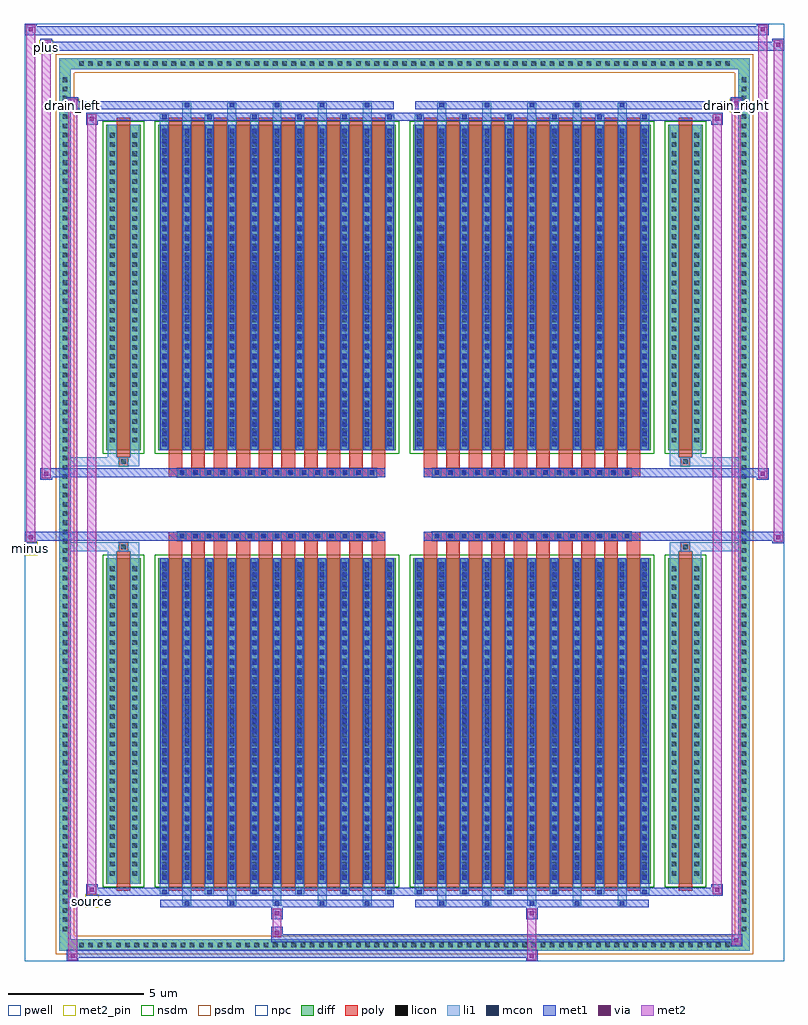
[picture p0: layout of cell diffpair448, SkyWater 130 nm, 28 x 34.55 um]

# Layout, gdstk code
import gdstk
lib = gdstk.Library(unit=1e-6, precision=5e-09)
def R(c, l, rs):  # rectangles x0, y0, x1, y1
    for r in rs: c.add(gdstk.rectangle(r[:2], r[2:], *l))
def A(c, l, x, y, w, h, nx, ny, dx, dy):  # array of equal rectangles
    R(c, l, [(x+i*dx, y+j*dy, x+i*dx+w, y+j*dy+h) for i in range(nx) for j in range(ny)])
def P(c, l, *ps):  # polygons
    for p in ps: c.add(gdstk.Polygon(p, *l))
pwell = (64, 44)
diff = (65, 20)
poly = (66, 20)
licon = (66, 44)
li1 = (67, 20)
mcon = (67, 44)
met1 = (68, 20)
via = (68, 44)
met2_pin = (69, 16)
met2 = (69, 20)
nsdm = (93, 44)
psdm = (94, 20)
npc = (95, 20)

diffpair448 = lib.new_cell('diffpair448')
R(diffpair448, pwell, [(-13.98,-16.84,13.98,17.71), (-11.3,-15.03,-0.01,-0.805), (0.01,-15.03,11.3,-0.805), (-11.3,0.805,-0.01,15.03), (0.01,0.805,11.3,15.03)])
A(diffpair448, diff, -12.105, -16.44, 0.41, 0.41, 71, 2, 0.34, 32.47)
A(diffpair448, diff, -12.71, -15.845, 0.41, 0.41, 1, 93, 0, 0.34)
A(diffpair448, diff, 12.3, -15.845, 0.41, 0.41, 1, 93, 0, 0.34)
R(diffpair448, diff, [(-12.105,-16.44,12.105,-16.03), (-12.71,-15.845,-12.3,15.845), (12.3,-15.845,12.71,15.845), (-10.99,-13.985,-9.71,-1.985), (-9.07,-13.985,-0.32,-1.985), (0.32,-13.985,9.07,-1.985), (9.71,-13.985,10.99,-1.985), (-10.99,1.985,-9.71,13.985), (-9.07,1.985,-0.32,13.985), (0.32,1.985,9.07,13.985), (9.71,1.985,10.99,13.985), (-12.105,16.03,12.105,16.44)])
P(diffpair448, diff, [(12.71,16.44),(-12.71,16.44),(-12.71,-16.03),(-12.3,-16.03),(-12.3,16.03),(12.3,16.03),(12.3,-16.03),(-12.3,-16.03),(-12.71,-16.03),(-12.71,-16.44),(12.71,-16.44)])
A(diffpair448, poly, -8.68, -14.235, 0.5, 12.5, 10, 2, 0.83, 15.97)
A(diffpair448, poly, 0.71, -14.235, 0.5, 12.5, 10, 2, 0.83, 15.97)
A(diffpair448, poly, -8.68, -1.735, 0.5, 0.4, 10, 2, 0.83, 3.07)
A(diffpair448, poly, 0.71, -1.735, 0.5, 0.4, 10, 2, 0.83, 3.07)
A(diffpair448, poly, -8.36, -1.335, 0.33, 0.33, 15, 2, 0.5, 2.34)
A(diffpair448, poly, 1.03, -1.335, 0.33, 0.33, 15, 2, 0.5, 2.34)
R(diffpair448, poly, [(-10.6,-14.235,-10.1,-1.735), (10.1,-14.235,10.6,-1.735), (-10.515,-1.735,-10.185,-1.405), (-10.515,-1.735,-10.185,-1.405), (10.185,-1.735,10.515,-1.405), (10.185,-1.735,10.515,-1.405), (-8.68,-1.335,-0.71,-1.005), (0.71,-1.335,8.68,-1.005), (-8.68,1.005,-0.71,1.335), (0.71,1.005,8.68,1.335), (-10.515,1.405,-10.185,1.735), (-10.515,1.405,-10.185,1.735), (10.185,1.405,10.515,1.735), (10.185,1.405,10.515,1.735), (-10.6,1.735,-10.1,14.235), (10.1,1.735,10.6,14.235)])
A(diffpair448, licon, -11.985, -16.32, 0.17, 0.17, 71, 2, 0.34, 32.47)
A(diffpair448, licon, -12.59, -15.725, 0.17, 0.17, 1, 93, 0, 0.34)
A(diffpair448, licon, 12.42, -15.725, 0.17, 0.17, 1, 93, 0, 0.34)
A(diffpair448, licon, -10.85, -13.68, 0.17, 0.17, 1, 34, 0, 0.34)
A(diffpair448, licon, -10.02, -13.68, 0.17, 0.17, 1, 34, 0, 0.34)
A(diffpair448, licon, -8.93, -13.68, 0.17, 0.17, 11, 34, 0.83, 0.34)
A(diffpair448, licon, 0.46, -13.68, 0.17, 0.17, 11, 34, 0.83, 0.34)
A(diffpair448, licon, 9.85, -13.68, 0.17, 0.17, 1, 34, 0, 0.34)
A(diffpair448, licon, 10.68, -13.68, 0.17, 0.17, 1, 34, 0, 0.34)
A(diffpair448, licon, -8.28, -1.255, 0.17, 0.17, 15, 2, 0.5, 2.34)
A(diffpair448, licon, 1.11, -1.255, 0.17, 0.17, 15, 2, 0.5, 2.34)
A(diffpair448, licon, -10.85, 2.29, 0.17, 0.17, 1, 34, 0, 0.34)
A(diffpair448, licon, -10.02, 2.29, 0.17, 0.17, 1, 34, 0, 0.34)
A(diffpair448, licon, -8.93, 2.29, 0.17, 0.17, 11, 34, 0.83, 0.34)
A(diffpair448, licon, 0.46, 2.29, 0.17, 0.17, 11, 34, 0.83, 0.34)
A(diffpair448, licon, 9.85, 2.29, 0.17, 0.17, 1, 34, 0, 0.34)
A(diffpair448, licon, 10.68, 2.29, 0.17, 0.17, 1, 34, 0, 0.34)
R(diffpair448, licon, [(-10.435,-1.655,-10.265,-1.485), (10.265,-1.655,10.435,-1.485), (-10.435,1.485,-10.265,1.655), (10.265,1.485,10.435,1.655)])
A(diffpair448, li1, -12.065, -16.4, 0.33, 0.33, 71, 2, 0.34, 32.47)
A(diffpair448, li1, -12.67, -15.805, 0.33, 0.33, 1, 93, 0, 0.34)
A(diffpair448, li1, 12.34, -15.805, 0.33, 0.33, 1, 93, 0, 0.34)
A(diffpair448, li1, -8.18, -14.79, 0.33, 0.805, 5, 2, 1.66, 28.775)
A(diffpair448, li1, -8.1, -14.79, 0.17, 0.17, 5, 2, 1.66, 29.41)
A(diffpair448, li1, 1.21, -14.79, 0.33, 0.805, 5, 2, 1.66, 28.775)
A(diffpair448, li1, 1.29, -14.79, 0.17, 0.17, 5, 2, 1.66, 29.41)
A(diffpair448, li1, -9.01, -14.36, 0.33, 0.375, 6, 2, 1.66, 28.345)
A(diffpair448, li1, -8.93, -14.36, 0.17, 0.17, 6, 2, 1.66, 28.55)
A(diffpair448, li1, 0.38, -14.36, 0.33, 0.375, 6, 2, 1.66, 28.345)
A(diffpair448, li1, 0.46, -14.36, 0.17, 0.17, 6, 2, 1.66, 28.55)
A(diffpair448, li1, -9.01, -13.985, 0.33, 12, 11, 2, 0.83, 15.97)
A(diffpair448, li1, 0.38, -13.985, 0.33, 12, 11, 2, 0.83, 15.97)
A(diffpair448, li1, -8.93, -13.83, 0.17, 0.17, 11, 33, 0.83, 0.36)
A(diffpair448, li1, -8.93, -13.83, 0.17, 11.69, 11, 2, 0.83, 15.97)
A(diffpair448, li1, 0.46, -13.83, 0.17, 0.17, 11, 33, 0.83, 0.36)
A(diffpair448, li1, 0.46, -13.83, 0.17, 11.69, 11, 2, 0.83, 15.97)
A(diffpair448, li1, -10.93, -13.76, 0.33, 0.33, 1, 34, 0, 0.34)
A(diffpair448, li1, -10.1, -13.76, 0.33, 0.33, 1, 34, 0, 0.34)
A(diffpair448, li1, -9.01, -13.76, 0.33, 0.33, 11, 34, 0.83, 0.34)
A(diffpair448, li1, 0.38, -13.76, 0.33, 0.33, 11, 34, 0.83, 0.34)
A(diffpair448, li1, 9.77, -13.76, 0.33, 0.33, 1, 34, 0, 0.34)
A(diffpair448, li1, 10.6, -13.76, 0.33, 0.33, 1, 34, 0, 0.34)
A(diffpair448, li1, -8.36, -1.335, 0.33, 0.33, 15, 2, 0.5, 2.34)
A(diffpair448, li1, 1.03, -1.335, 0.33, 0.33, 15, 2, 0.5, 2.34)
A(diffpair448, li1, -8.93, 2.14, 0.17, 0.17, 11, 33, 0.83, 0.36)
A(diffpair448, li1, 0.46, 2.14, 0.17, 0.17, 11, 33, 0.83, 0.36)
A(diffpair448, li1, -10.93, 2.21, 0.33, 0.33, 1, 34, 0, 0.34)
A(diffpair448, li1, -10.1, 2.21, 0.33, 0.33, 1, 34, 0, 0.34)
A(diffpair448, li1, -9.01, 2.21, 0.33, 0.33, 11, 34, 0.83, 0.34)
A(diffpair448, li1, 0.38, 2.21, 0.33, 0.33, 11, 34, 0.83, 0.34)
A(diffpair448, li1, 9.77, 2.21, 0.33, 0.33, 1, 34, 0, 0.34)
A(diffpair448, li1, 10.6, 2.21, 0.33, 0.33, 1, 34, 0, 0.34)
R(diffpair448, li1, [(-12.71,-16.44,-12.3,-16.03), (-12.71,-16.44,-12.3,-16.03), (-12.3,-16.44,12.3,-16.03), (12.3,-16.44,12.71,-16.03), (12.3,-16.44,12.71,-16.03), (-12.71,-16.03,-12.3,16.03), (12.3,-16.03,12.71,16.03), (-10.93,-13.985,-10.6,-1.985), (-10.1,-13.985,-9.77,-1.985), (9.77,-13.985,10.1,-1.985), (10.6,-13.985,10.93,-1.985), (-10.93,-1.985,-10.6,-1.405), (-10.1,-1.985,-9.77,-1.405), (9.77,-1.985,10.1,-1.405), (10.6,-1.985,10.93,-1.405), (-12.71,-1.735,-10.515,-1.405), (-10.93,-1.735,-10.515,-1.405), (-10.515,-1.735,-10.185,-1.405), (-10.185,-1.735,-9.77,-1.405), (9.77,-1.735,10.185,-1.405), (10.185,-1.735,10.515,-1.405), (10.185,-1.735,12.71,-1.405), (10.515,-1.735,10.93,-1.405), (-12.71,1.405,-10.515,1.735), (-10.93,1.405,-10.515,1.735), (-10.93,1.405,-10.6,1.985), (-10.515,1.405,-10.185,1.735), (-10.185,1.405,-9.77,1.735), (-10.1,1.405,-9.77,1.985), (9.77,1.405,10.185,1.735), (9.77,1.405,10.1,1.985), (10.185,1.405,10.515,1.735), (10.185,1.405,12.71,1.735), (10.515,1.405,10.93,1.735), (10.6,1.405,10.93,1.985), (-10.93,1.985,-10.6,13.985), (-10.1,1.985,-9.77,13.985), (9.77,1.985,10.1,13.985), (10.6,1.985,10.93,13.985), (-12.71,16.03,-12.3,16.44), (-12.71,16.03,-12.3,16.44), (-12.3,16.03,12.3,16.44), (12.3,16.03,12.71,16.44), (12.3,16.03,12.71,16.44)])
A(diffpair448, mcon, -8.1, -14.79, 0.17, 0.17, 5, 2, 1.66, 29.41)
A(diffpair448, mcon, 1.29, -14.79, 0.17, 0.17, 5, 2, 1.66, 29.41)
A(diffpair448, mcon, -8.93, -14.36, 0.17, 0.17, 6, 2, 1.66, 28.55)
A(diffpair448, mcon, 0.46, -14.36, 0.17, 0.17, 6, 2, 1.66, 28.55)
A(diffpair448, mcon, -8.93, -13.83, 0.17, 0.17, 11, 33, 0.83, 0.36)
A(diffpair448, mcon, 0.46, -13.83, 0.17, 0.17, 11, 33, 0.83, 0.36)
A(diffpair448, mcon, -8.28, -1.255, 0.17, 0.17, 15, 2, 0.5, 2.34)
A(diffpair448, mcon, 1.11, -1.255, 0.17, 0.17, 15, 2, 0.5, 2.34)
A(diffpair448, mcon, -8.93, 2.14, 0.17, 0.17, 11, 33, 0.83, 0.36)
A(diffpair448, mcon, 0.46, 2.14, 0.17, 0.17, 11, 33, 0.83, 0.36)
A(diffpair448, met1, -8.16, -14.85, 0.29, 0.29, 5, 2, 1.66, 29.41)
A(diffpair448, met1, 1.23, -14.85, 0.29, 0.29, 5, 2, 1.66, 29.41)
A(diffpair448, met1, -8.99, -14.42, 0.29, 0.29, 6, 2, 1.66, 28.55)
A(diffpair448, met1, 0.4, -14.42, 0.29, 0.29, 6, 2, 1.66, 28.55)
A(diffpair448, met1, -8.99, -13.985, 0.29, 12, 11, 2, 0.83, 15.97)
A(diffpair448, met1, 0.4, -13.985, 0.29, 12, 11, 2, 0.83, 15.97)
A(diffpair448, met1, -8.99, -13.89, 0.29, 0.29, 11, 33, 0.83, 0.36)
A(diffpair448, met1, 0.4, -13.89, 0.29, 0.29, 11, 33, 0.83, 0.36)
A(diffpair448, met1, -8.34, -1.315, 0.29, 0.29, 15, 2, 0.5, 2.34)
A(diffpair448, met1, 1.05, -1.315, 0.29, 0.29, 15, 2, 0.5, 2.34)
A(diffpair448, met1, -8.99, 2.08, 0.29, 0.29, 11, 33, 0.83, 0.36)
A(diffpair448, met1, 0.4, 2.08, 0.29, 0.29, 11, 33, 0.83, 0.36)
R(diffpair448, met1, [(-12.44,-16.84,-12.01,-16.41), (4.48,-16.84,4.91,-16.41), (-12.44,-16.7,4.91,-16.41), (12.01,-16.27,12.44,-15.84), (-4.91,-16.13,12.44,-15.84), (-4.91,-15.99,-4.48,-15.56), (-4.91,-15.28,-4.48,-14.85), (4.48,-15.28,4.91,-14.85), (-8.99,-14.85,-0.4,-14.56), (0.4,-14.85,8.99,-14.56), (-11.73,-14.42,-11.3,-13.99), (-11.73,-14.42,-8.99,-14.13), (-8.99,-14.42,-0.4,-14.13), (-0.4,-14.42,0.4,-14.13), (0.4,-14.42,8.99,-14.13), (8.99,-14.42,11.73,-14.13), (11.3,-14.42,11.73,-13.99), (-13.98,-1.435,-13.55,-1.005), (13.55,-1.435,13.98,-1.005), (-13.98,-1.335,-0.71,-1.005), (-8.68,-1.335,-0.71,-1.005), (0.71,-1.335,8.68,-1.005), (0.71,-1.335,13.98,-1.005), (-13.41,0.905,-12.98,1.335), (12.98,0.905,13.41,1.335), (-13.41,1.005,-8.68,1.335), (-8.68,1.005,-0.71,1.335), (0.71,1.005,8.68,1.335), (8.68,1.005,13.41,1.335), (-11.73,13.99,-11.3,14.42), (11.3,13.99,11.73,14.42), (-11.73,14.13,-8.99,14.42), (-8.99,14.13,-0.4,14.42), (-0.4,14.13,0.4,14.42), (0.4,14.13,8.99,14.42), (8.99,14.13,11.73,14.42), (-12.44,14.56,-12.01,14.99), (-12.44,14.56,-8.99,14.85), (-8.99,14.56,-0.4,14.85), (0.4,14.56,8.99,14.85), (8.99,14.56,12.44,14.85), (12.01,14.56,12.44,14.99), (-13.41,16.71,-12.98,17.14), (-13.41,16.71,-11.3,17.04), (-11.3,16.71,11.3,17.04), (11.3,16.71,13.98,17.04), (13.55,16.71,13.98,17.14), (-13.98,17.28,-13.55,17.71), (-13.98,17.28,-11.3,17.61), (-11.3,17.28,11.3,17.61), (11.3,17.28,13.41,17.61), (12.98,17.28,13.41,17.71)])
R(diffpair448, via, [(-12.3,-16.7,-12.15,-16.55), (4.62,-16.7,4.77,-16.55), (12.15,-16.13,12.3,-15.98), (-4.77,-15.85,-4.62,-15.7), (-4.77,-15.14,-4.62,-14.99), (4.62,-15.14,4.77,-14.99), (-11.59,-14.28,-11.44,-14.13), (11.44,-14.28,11.59,-14.13), (-13.84,-1.295,-13.69,-1.145), (13.69,-1.295,13.84,-1.145), (-13.27,1.045,-13.12,1.195), (13.12,1.045,13.27,1.195), (-11.59,14.13,-11.44,14.28), (11.44,14.13,11.59,14.28), (-12.3,14.7,-12.15,14.85), (12.15,14.7,12.3,14.85), (-13.27,16.85,-13.12,17), (13.69,16.85,13.84,17), (-13.84,17.42,-13.69,17.57), (13.12,17.42,13.27,17.57)])
R(diffpair448, met2_pin, [(-11.765,-14.87,-11.265,-14.37), (-14.015,-1.885,-13.515,-1.385), (-12.475,14.44,-11.975,14.94), (11.975,14.44,12.475,14.94), (-13.445,16.59,-12.945,17.09)])
R(diffpair448, met2, [(-12.39,-16.79,-12.06,-16.46), (-12.39,-16.79,-12.06,14.94), (4.53,-16.79,4.86,-16.46), (4.53,-16.46,4.86,-15.23), (12.06,-16.22,12.39,-15.89), (12.06,-16.22,12.39,14.94), (-4.86,-15.94,-4.53,-15.61), (-4.86,-15.61,-4.53,-15.23), (-4.86,-15.23,-4.53,-14.9), (4.53,-15.23,4.86,-14.9), (-11.68,-14.37,-11.35,-14.04), (-11.68,-14.37,-11.35,14.37), (11.35,-14.37,11.68,-14.04), (11.35,-14.37,11.68,14.37), (-13.93,-1.385,-13.6,-1.055), (-13.93,-1.385,-13.6,17.66), (13.6,-1.385,13.93,-1.055), (13.6,-1.385,13.93,17.09), (-13.36,0.955,-13.03,1.285), (-13.36,0.955,-13.03,17.09), (13.03,0.955,13.36,1.285), (13.03,0.955,13.36,17.66), (-11.68,14.04,-11.35,14.37), (11.35,14.04,11.68,14.37), (-12.39,14.61,-12.06,14.94), (12.06,14.61,12.39,14.94), (-13.36,16.76,-13.03,17.09), (13.6,16.76,13.93,17.09), (-13.93,17.33,-13.6,17.66), (13.03,17.33,13.36,17.66)])
P(diffpair448, met2, [(13.93,-1.385),(13.93,-1.385),(13.93,-1.055),(13.93,-1.055)],
  [(13.93,16.76),(13.93,16.76),(13.93,17.09),(13.93,17.09)],
  [(-13.6,-1.385),(-13.6,-1.385),(-13.6,-1.055),(-13.6,-1.055)],
  [(-13.6,17.33),(-13.6,17.33),(-13.6,17.66),(-13.6,17.66)],
  [(13.36,0.955),(13.36,0.955),(13.36,1.285),(13.36,1.285)],
  [(13.36,17.33),(13.36,17.33),(13.36,17.66),(13.36,17.66)],
  [(-13.03,0.955),(-13.03,0.955),(-13.03,1.285),(-13.03,1.285)],
  [(-13.03,16.76),(-13.03,16.76),(-13.03,17.09),(-13.03,17.09)],
  [(-12.06,-16.79),(-12.06,-16.79),(-12.06,-16.46),(-12.06,-16.46)],
  [(-12.06,14.61),(-12.06,14.61),(-12.06,14.94),(-12.06,14.94)],
  [(12.39,-16.22),(12.39,-16.22),(12.39,-15.89),(12.39,-15.89)],
  [(12.39,14.61),(12.39,14.61),(12.39,14.94),(12.39,14.94)],
  [(-11.35,-14.37),(-11.35,-14.37),(-11.35,-14.04),(-11.35,-14.04)],
  [(-11.35,14.04),(-11.35,14.04),(-11.35,14.37),(-11.35,14.37)],
  [(11.68,-14.37),(11.68,-14.37),(11.68,-14.04),(11.68,-14.04)],
  [(11.68,14.04),(11.68,14.04),(11.68,14.37),(11.68,14.37)])
R(diffpair448, nsdm, [(-11.12,-14.115,-9.58,-1.855), (-9.2,-14.115,-0.19,-1.855), (0.19,-14.115,9.2,-1.855), (9.58,-14.115,11.12,-1.855), (-11.12,1.855,-9.58,14.115), (-9.2,1.855,-0.19,14.115), (0.19,1.855,9.2,14.115), (9.58,1.855,11.12,14.115)])
P(diffpair448, psdm, [(12.84,16.57),(-12.84,16.57),(-12.84,-15.9),(-12.17,-15.9),(-12.17,15.9),(12.17,15.9),(12.17,-15.9),(-12.17,-15.9),(-12.84,-15.9),(-12.84,-16.57),(12.84,-16.57)])
A(diffpair448, npc, -8.38, -1.355, 0.37, 0.37, 15, 2, 0.5, 2.34)
A(diffpair448, npc, 1.01, -1.355, 0.37, 0.37, 15, 2, 0.5, 2.34)
R(diffpair448, npc, [(-10.535,-1.755,-10.165,-1.385), (10.165,-1.755,10.535,-1.385), (-8.38,-1.355,-7.51,-0.985), (-8.38,-1.355,-7.51,-0.985), (-7.88,-1.355,-7.01,-0.985), (-7.88,-1.355,-7.01,-0.985), (-7.38,-1.355,-6.51,-0.985), (-7.38,-1.355,-6.51,-0.985), (-6.88,-1.355,-6.01,-0.985), (-6.88,-1.355,-6.01,-0.985), (-6.38,-1.355,-5.51,-0.985), (-6.38,-1.355,-5.51,-0.985), (-5.88,-1.355,-5.01,-0.985), (-5.88,-1.355,-5.01,-0.985), (-5.38,-1.355,-4.51,-0.985), (-5.38,-1.355,-4.51,-0.985), (-4.88,-1.355,-4.01,-0.985), (-4.88,-1.355,-4.01,-0.985), (-4.38,-1.355,-3.51,-0.985), (-4.38,-1.355,-3.51,-0.985), (-3.88,-1.355,-3.01,-0.985), (-3.88,-1.355,-3.01,-0.985), (-3.38,-1.355,-2.51,-0.985), (-3.38,-1.355,-2.51,-0.985), (-2.88,-1.355,-2.01,-0.985), (-2.88,-1.355,-2.01,-0.985), (-2.38,-1.355,-1.51,-0.985), (-2.38,-1.355,-1.51,-0.985), (-1.88,-1.355,-1.01,-0.985), (-1.88,-1.355,-1.01,-0.985), (1.01,-1.355,1.88,-0.985), (1.01,-1.355,1.88,-0.985), (1.51,-1.355,2.38,-0.985), (1.51,-1.355,2.38,-0.985), (2.01,-1.355,2.88,-0.985), (2.01,-1.355,2.88,-0.985), (2.51,-1.355,3.38,-0.985), (2.51,-1.355,3.38,-0.985), (3.01,-1.355,3.88,-0.985), (3.01,-1.355,3.88,-0.985), (3.51,-1.355,4.38,-0.985), (3.51,-1.355,4.38,-0.985), (4.01,-1.355,4.88,-0.985), (4.01,-1.355,4.88,-0.985), (4.51,-1.355,5.38,-0.985), (4.51,-1.355,5.38,-0.985), (5.01,-1.355,5.88,-0.985), (5.01,-1.355,5.88,-0.985), (5.51,-1.355,6.38,-0.985), (5.51,-1.355,6.38,-0.985), (6.01,-1.355,6.88,-0.985), (6.01,-1.355,6.88,-0.985), (6.51,-1.355,7.38,-0.985), (6.51,-1.355,7.38,-0.985), (7.01,-1.355,7.88,-0.985), (7.01,-1.355,7.88,-0.985), (7.51,-1.355,8.38,-0.985), (7.51,-1.355,8.38,-0.985), (-8.38,0.985,-7.51,1.355), (-8.38,0.985,-7.51,1.355), (-7.88,0.985,-7.01,1.355), (-7.88,0.985,-7.01,1.355), (-7.38,0.985,-6.51,1.355), (-7.38,0.985,-6.51,1.355), (-6.88,0.985,-6.01,1.355), (-6.88,0.985,-6.01,1.355), (-6.38,0.985,-5.51,1.355), (-6.38,0.985,-5.51,1.355), (-5.88,0.985,-5.01,1.355), (-5.88,0.985,-5.01,1.355), (-5.38,0.985,-4.51,1.355), (-5.38,0.985,-4.51,1.355), (-4.88,0.985,-4.01,1.355), (-4.88,0.985,-4.01,1.355), (-4.38,0.985,-3.51,1.355), (-4.38,0.985,-3.51,1.355), (-3.88,0.985,-3.01,1.355), (-3.88,0.985,-3.01,1.355), (-3.38,0.985,-2.51,1.355), (-3.38,0.985,-2.51,1.355), (-2.88,0.985,-2.01,1.355), (-2.88,0.985,-2.01,1.355), (-2.38,0.985,-1.51,1.355), (-2.38,0.985,-1.51,1.355), (-1.88,0.985,-1.01,1.355), (-1.88,0.985,-1.01,1.355), (1.01,0.985,1.88,1.355), (1.01,0.985,1.88,1.355), (1.51,0.985,2.38,1.355), (1.51,0.985,2.38,1.355), (2.01,0.985,2.88,1.355), (2.01,0.985,2.88,1.355), (2.51,0.985,3.38,1.355), (2.51,0.985,3.38,1.355), (3.01,0.985,3.88,1.355), (3.01,0.985,3.88,1.355), (3.51,0.985,4.38,1.355), (3.51,0.985,4.38,1.355), (4.01,0.985,4.88,1.355), (4.01,0.985,4.88,1.355), (4.51,0.985,5.38,1.355), (4.51,0.985,5.38,1.355), (5.01,0.985,5.88,1.355), (5.01,0.985,5.88,1.355), (5.51,0.985,6.38,1.355), (5.51,0.985,6.38,1.355), (6.01,0.985,6.88,1.355), (6.01,0.985,6.88,1.355), (6.51,0.985,7.38,1.355), (6.51,0.985,7.38,1.355), (7.01,0.985,7.88,1.355), (7.01,0.985,7.88,1.355), (7.51,0.985,8.38,1.355), (7.51,0.985,8.38,1.355), (-10.535,1.385,-10.165,1.755), (10.165,1.385,10.535,1.755)])
diffpair448.add(gdstk.Label('minus', (-13.765,-1.635), layer=69, texttype=5))
diffpair448.add(gdstk.Label('drain_right', (12.225,14.69), layer=69, texttype=5))
diffpair448.add(gdstk.Label('drain_left', (-12.225,14.69), layer=69, texttype=5))
diffpair448.add(gdstk.Label('source', (-11.515,-14.62), layer=69, texttype=5))
diffpair448.add(gdstk.Label('plus', (-13.195,16.84), layer=69, texttype=5))

lib.write_gds('diffpair448.gds')
